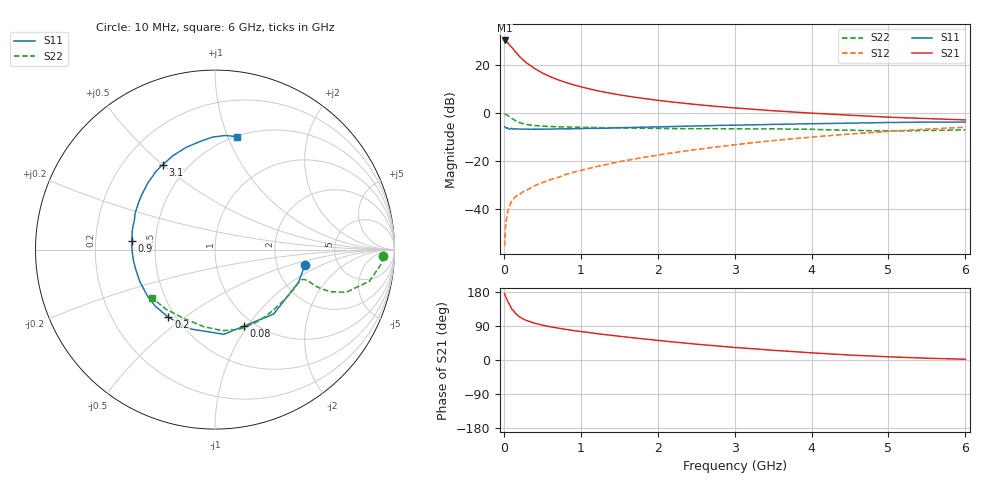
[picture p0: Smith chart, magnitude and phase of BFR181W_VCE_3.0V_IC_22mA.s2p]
! Infineon Technologies  Discrete & RF Semiconductors
! BFR181W
! VCE =  3.0 V,  IC =  22 mA
! Common Emitter S-Parameters:  Jan 2017
# GHz  S  MA  R  50
!  f  S11  S21  S12  S22
! GHz  MAG  ANG  MAG  ANG  MAG  ANG  MAG  ANG
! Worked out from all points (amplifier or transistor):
!   77 points, 10 MHz to 6 GHz, reference 50 ohm
!   highest |S21| = 30.0 dB at 10 MHz (marker M1)
!   |S21| within 3 dB of that: start of sweep to 106.4 MHz
!   unconditionally stable (mu >= 1): 391.2 MHz to 2.671 GHz
!   at 130 MHz: K = 0.54, MSG = 30.8 dB, |S12| = -35.5 dB
!   at 2.2 GHz: K = 1.08, MAG = 8.8 dB, |S12| = -16.6 dB
!   at 6 GHz: K = 0.92, MSG = 1.5 dB, |S12| = -6.0 dB
!   S11 on the Smith chart (normalised r, x): 10 MHz: 2.91, -0.65; 80 MHz: 0.89, -0.96; 200 MHz: 0.46, -0.44; 900 MHz: 0.37, +0.05; 3.1 GHz: 0.37, +0.50; 6 GHz: 0.51, +1.08
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0.01  0.5088 -9.4  31.62 175.2  0.0017 87.2  0.9346 -2.2
0.02  0.4998 -21.4  31.2 169.2  0.0039 87.4  0.9322 -4.7
0.05  0.4855 -47.7  28.56 154.7  0.0088 74.5  0.8784 -11.6
0.08  0.4559 -69.4  24.89 144.2  0.0121 66.9  0.8113 -15.2
0.1  0.4745 -84.0  23.03 135.5  0.0144 63.8  0.7687 -18.0
0.15  0.4645 -108.6  18.37 123.3  0.0182 58.7  0.6835 -20.1
0.2  0.458 -124.6  14.9 114.5  0.0198 58.4  0.6283 -20.2
0.25  0.4583 -136.6  12.48 108.3  0.023 58.4  0.5936 -19.9
0.3  0.4568 -145.1  10.66 103.7  0.0249 60.3  0.5687 -19.2
0.4  0.4553 -157.1  8.252 96.9  0.0306 63.4  0.5421 -18.5
0.5  0.4553 -165.7  6.681 92.0  0.0355 65.8  0.5268 -18.5
0.6  0.4583 -172.2  5.625 87.8  0.0406 68.3  0.5179 -18.7
0.7  0.4606 -177.2  4.855 84.3  0.0451 71.0  0.5112 -19.3
0.9  0.4649 174.0  3.81 77.9  0.0577 73.6  0.5025 -21.4
1.1  0.4729 167.2  3.155 72.6  0.0694 75.3  0.4963 -23.8
1.3  0.4767 160.8  2.689 67.4  0.0819 76.3  0.4902 -26.8
1.5  0.4888 155.8  2.354 62.7  0.0961 76.9  0.484 -30.1
2.1  0.5128 141.3  1.734 49.7  0.1399 76.4  0.4704 -41.9
3.1  0.5552 121.5  1.225 31.7  0.2255 70.8  0.463 -64.3
4.1  0.5945 104.0  0.962 17.8  0.3218 61.5  0.4479 -87.1
5.1  0.6286 89.9  0.798 7.7  0.4192 50.1  0.4204 -116.7
6  0.6415 78.8  0.709 1.9  0.501 39.1  0.4425 -142.7
